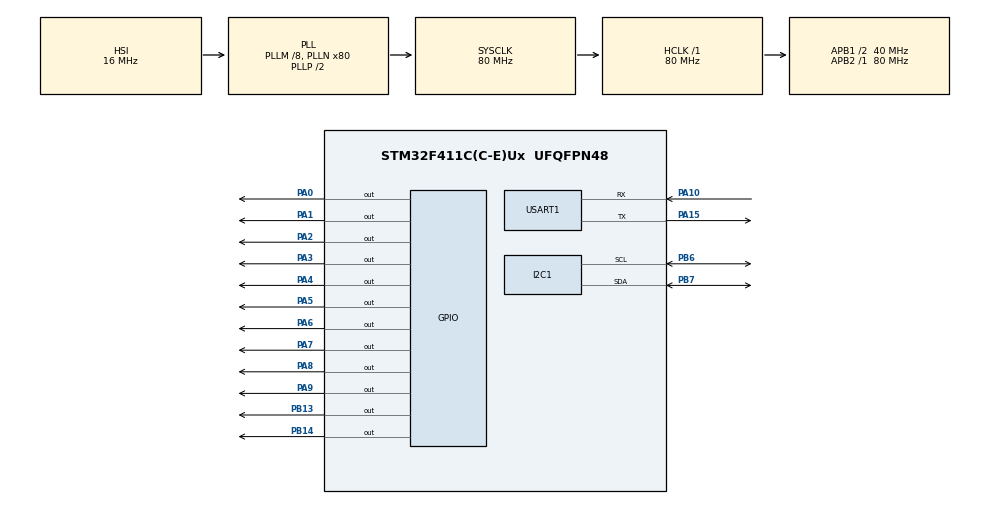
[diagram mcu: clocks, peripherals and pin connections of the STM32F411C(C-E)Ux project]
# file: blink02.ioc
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Mcu.Family=STM32F4
Mcu.Name=STM32F411C(C-E)Ux
Mcu.Package=UFQFPN48
NVIC.PriorityGroup=NVIC_PRIORITYGROUP_4
PA0-WKUP.Signal=GPIO_Output
PA1.Signal=GPIO_Output
PA10.Mode=Asynchronous
PA10.Signal=USART1_RX
PA15.Mode=Asynchronous
PA15.Signal=USART1_TX
PA2.Signal=GPIO_Output
PA3.Signal=GPIO_Output
PA4.Signal=GPIO_Output
PA5.Signal=GPIO_Output
PA6.Signal=GPIO_Output
PA7.Signal=GPIO_Output
PA8.Signal=GPIO_Output
PA9.Signal=GPIO_Output
PB13.Signal=GPIO_Output
PB14.Signal=GPIO_Output
PB6.Mode=I2C
PB6.Signal=I2C1_SCL
PB7.Mode=I2C
PB7.Signal=I2C1_SDA
ProjectManager.HeapSize=0x200
ProjectManager.StackSize=0x400
ProjectManager.TargetToolchain=STM32CubeIDE
RCC.48MHZClocksFreq_Value=40000000
RCC.AHBFreq_Value=80000000
RCC.APB1CLKDivider=RCC_HCLK_DIV2
RCC.APB1Freq_Value=40000000
RCC.APB1TimFreq_Value=80000000
RCC.APB2Freq_Value=80000000
RCC.APB2TimFreq_Value=80000000
RCC.CortexFreq_Value=80000000
RCC.HCLKFreq_Value=80000000
RCC.HSE_VALUE=25000000
RCC.HSI_VALUE=16000000
RCC.LSE_VALUE=32768
RCC.PLLM=8
RCC.PLLN=80
RCC.SYSCLKFreq_VALUE=80000000
RCC.SYSCLKSource=RCC_SYSCLKSOURCE_PLLCLK
RCC.VCOOutputFreq_Value=160000000
USART1.VirtualMode=VM_ASYNC
board=custom

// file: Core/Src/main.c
/* USER CODE BEGIN Header */
/**
  ******************************************************************************
  * @file           : main.c
  * @brief          : Main program body
  ******************************************************************************
  * @attention
  *
  * Copyright (c) 2024 STMicroelectronics.
  * All rights reserved.
  *
  * This software is licensed under terms that can be found in the LICENSE file
  * in the root directory of this software component.
  * If no LICENSE file comes with this software, it is provided AS-IS.
  *
  ******************************************************************************
  */
/* USER CODE END Header */
#include "main.h"

/* USER CODE BEGIN Includes */

#include <stdio.h>
#include "liquidcrystal_i2c.h"
//#include "LCDI2C.h"
#define MISTERONS
#define LCD

/* USER CODE END Includes */

I2C_HandleTypeDef hi2c1;

UART_HandleTypeDef huart1;

void SystemClock_Config(void);
static void MX_GPIO_Init(void);
static void MX_I2C1_Init(void);
static void MX_USART1_UART_Init(void);

int main(void)
{

  /* MCU Configuration--------------------------------------------------------*/

  /* Reset of all peripherals, Initializes the Flash interface and the Systick. */
  HAL_Init();

  /* Configure the system clock */
  SystemClock_Config();

  /* Initialize all configured peripherals */
  MX_GPIO_Init();
  MX_I2C1_Init();
  MX_USART1_UART_Init();
  /* USER CODE BEGIN 2 */
  HD44780_Init(4);  // Number of rows
  HD44780_Clear();
  HD44780_SetCursor(0,0);
  HD44780_PrintStr("Bonjour le monde");
  HD44780_SetCursor(0,1);
  HD44780_PrintStr("STM32F411");
  HD44780_SetCursor(0,2);
  /* USER CODE END 2 */

  /* Infinite loop */
  /* USER CODE BEGIN WHILE */
  uint64_t i = 0;
  char msg[20];
  // LCD_I2C lcd(); // = LCD_I2C();
  while (1)
  {
    /* USER CODE END WHILE */

    /* USER CODE BEGIN 3 */
	  int32_t nl = i & 0xFFFFFFFF;
	  int32_t nh = (i >> 32) & 0xFFFFFFFF;
	  GPIOA->ODR = nl;  // Ecriture du registre 16bits (GPIOA_PIN0...GPIOA_PIN15)
	  //if ( !(i % 10000000)) {
	  sprintf(msg, "0x%08lX%08lX " , nh, nl); // 0x%llx %016llX
	  //itoa(i++, string, 16);
#ifdef LCD
	  HD44780_SetCursor(0,3);
	  HD44780_PrintStr(msg);
	  HAL_Delay(5);
#endif
	  HAL_UART_Transmit(&huart1, msg, sizeof(msg), 100);
	  //}
	  i++; //i+=1000000000;
	  // if (i > 0b1111111111) i = 0;
	  //GPIOB->ODR = 0x0000;
	  //HAL_Delay(250);

	  /*
	  HAL_GPIO_WritePin(GPIOB, GPIO_PIN_13, GPIO_PIN_SET);
	  HAL_GPIO_WritePin(GPIOB, GPIO_PIN_14, GPIO_PIN_SET);
	  HAL_GPIO_WritePin(GPIOA, GPIO_PIN_3, GPIO_PIN_SET);
	  HAL_GPIO_WritePin(GPIOA, GPIO_PIN_4, GPIO_PIN_SET);

	  HAL_Delay(250);
	  HAL_GPIO_WritePin(GPIOB, GPIO_PIN_13, GPIO_PIN_RESET);
	  HAL_GPIO_WritePin(GPIOB, GPIO_PIN_14, GPIO_PIN_RESET);
	  HAL_GPIO_WritePin(GPIOA, GPIO_PIN_3, GPIO_PIN_RESET);
	  HAL_GPIO_WritePin(GPIOA, GPIO_PIN_4, GPIO_PIN_RESET);

	  HAL_Delay(250);
	  */
  }
  /* USER CODE END 3 */
}

void SystemClock_Config(void)
{
  RCC_OscInitTypeDef RCC_OscInitStruct = {0};
  RCC_ClkInitTypeDef RCC_ClkInitStruct = {0};

  /** Configure the main internal regulator output voltage
  */
  __HAL_RCC_PWR_CLK_ENABLE();
  __HAL_PWR_VOLTAGESCALING_CONFIG(PWR_REGULATOR_VOLTAGE_SCALE1);

  /** Initializes the RCC Oscillators according to the specified parameters
  * in the RCC_OscInitTypeDef structure.
  */
  RCC_OscInitStruct.OscillatorType = RCC_OSCILLATORTYPE_HSI;
  RCC_OscInitStruct.HSIState = RCC_HSI_ON;
  RCC_OscInitStruct.HSICalibrationValue = RCC_HSICALIBRATION_DEFAULT;
  RCC_OscInitStruct.PLL.PLLState = RCC_PLL_ON;
  RCC_OscInitStruct.PLL.PLLSource = RCC_PLLSOURCE_HSI;
  RCC_OscInitStruct.PLL.PLLM = 8;
  RCC_OscInitStruct.PLL.PLLN = 80;
  RCC_OscInitStruct.PLL.PLLP = RCC_PLLP_DIV2;
  RCC_OscInitStruct.PLL.PLLQ = 4;
  if (HAL_RCC_OscConfig(&RCC_OscInitStruct) != HAL_OK)
  {
    Error_Handler();
  }

  /** Initializes the CPU, AHB and APB buses clocks
  */
  RCC_ClkInitStruct.ClockType = RCC_CLOCKTYPE_HCLK|RCC_CLOCKTYPE_SYSCLK
                              |RCC_CLOCKTYPE_PCLK1|RCC_CLOCKTYPE_PCLK2;
  RCC_ClkInitStruct.SYSCLKSource = RCC_SYSCLKSOURCE_PLLCLK;
  RCC_ClkInitStruct.AHBCLKDivider = RCC_SYSCLK_DIV1;
  RCC_ClkInitStruct.APB1CLKDivider = RCC_HCLK_DIV2;
  RCC_ClkInitStruct.APB2CLKDivider = RCC_HCLK_DIV1;

  if (HAL_RCC_ClockConfig(&RCC_ClkInitStruct, FLASH_LATENCY_2) != HAL_OK)
  {
    Error_Handler();
  }
}

static void MX_I2C1_Init(void)
{

  hi2c1.Instance = I2C1;
  hi2c1.Init.ClockSpeed = 100000;
  hi2c1.Init.DutyCycle = I2C_DUTYCYCLE_2;
  hi2c1.Init.OwnAddress1 = 0;
  hi2c1.Init.AddressingMode = I2C_ADDRESSINGMODE_7BIT;
  hi2c1.Init.DualAddressMode = I2C_DUALADDRESS_DISABLE;
  hi2c1.Init.OwnAddress2 = 0;
  hi2c1.Init.GeneralCallMode = I2C_GENERALCALL_DISABLE;
  hi2c1.Init.NoStretchMode = I2C_NOSTRETCH_DISABLE;
  if (HAL_I2C_Init(&hi2c1) != HAL_OK)
  {
    Error_Handler();
  }

}

static void MX_USART1_UART_Init(void)
{

  huart1.Instance = USART1;
  huart1.Init.BaudRate = 115200;
  huart1.Init.WordLength = UART_WORDLENGTH_8B;
  huart1.Init.StopBits = UART_STOPBITS_1;
  huart1.Init.Parity = UART_PARITY_NONE;
  huart1.Init.Mode = UART_MODE_TX_RX;
  huart1.Init.HwFlowCtl = UART_HWCONTROL_NONE;
  huart1.Init.OverSampling = UART_OVERSAMPLING_16;
  if (HAL_UART_Init(&huart1) != HAL_OK)
  {
    Error_Handler();
  }

}

static void MX_GPIO_Init(void)
{
  GPIO_InitTypeDef GPIO_InitStruct = {0};

  /* GPIO Ports Clock Enable */
  __HAL_RCC_GPIOA_CLK_ENABLE();
  __HAL_RCC_GPIOB_CLK_ENABLE();

  /*Configure GPIO pin Output Level */
  HAL_GPIO_WritePin(GPIOA, GPIO_PIN_0|GPIO_PIN_1|GPIO_PIN_2|GPIO_PIN_3
                          |GPIO_PIN_4|GPIO_PIN_5|GPIO_PIN_6|GPIO_PIN_7
                          |GPIO_PIN_8|GPIO_PIN_9, GPIO_PIN_RESET);

  /*Configure GPIO pin Output Level */
  HAL_GPIO_WritePin(GPIOB, GPIO_PIN_13|GPIO_PIN_14, GPIO_PIN_RESET);

  /*Configure GPIO pins : PA0 PA1 PA2 PA3
                           PA4 PA5 PA6 PA7
                           PA8 PA9 */
  GPIO_InitStruct.Pin = GPIO_PIN_0|GPIO_PIN_1|GPIO_PIN_2|GPIO_PIN_3
                          |GPIO_PIN_4|GPIO_PIN_5|GPIO_PIN_6|GPIO_PIN_7
                          |GPIO_PIN_8|GPIO_PIN_9;
  GPIO_InitStruct.Mode = GPIO_MODE_OUTPUT_PP;
  GPIO_InitStruct.Pull = GPIO_NOPULL;
  GPIO_InitStruct.Speed = GPIO_SPEED_FREQ_LOW;
  HAL_GPIO_Init(GPIOA, &GPIO_InitStruct);

  /*Configure GPIO pins : PB13 PB14 */
  GPIO_InitStruct.Pin = GPIO_PIN_13|GPIO_PIN_14;
  GPIO_InitStruct.Mode = GPIO_MODE_OUTPUT_PP;
  GPIO_InitStruct.Pull = GPIO_NOPULL;
  GPIO_InitStruct.Speed = GPIO_SPEED_FREQ_LOW;
  HAL_GPIO_Init(GPIOB, &GPIO_InitStruct);

}

void Error_Handler(void)
{
  __disable_irq();
  while (1)
  {
  }
}
